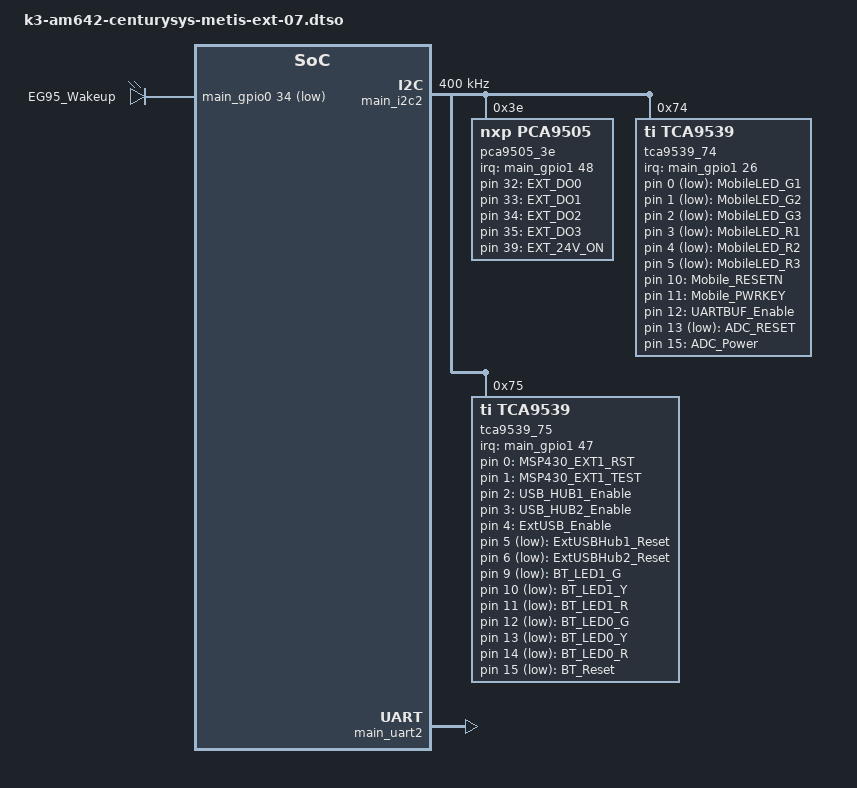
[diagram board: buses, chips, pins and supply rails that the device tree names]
// SPDX-License-Identifier: GPL-2.0
/**
 * DT overlay for EG95/BLE/Audio expansion board on Century Systems MA-X3xx
 *
 * Copyright (C) 2026 Century Systems
 */

/dts-v1/;
/plugin/;
#include <dt-bindings/gpio/gpio.h>
#include <dt-bindings/interrupt-controller/irq.h>
#include <dt-bindings/net/microchip-lan78xx.h>
#include "k3-pinctrl.h"

&main_pmx0 {
	main_uart2_rs232_pins_default: main-uart2-rs232-default-pins {
		pinctrl-single,pins = <
			AM64X_IOPAD(0x003c, PIN_INPUT, 2) 		/* (T20) UART2_RXD */
			AM64X_IOPAD(0x0040, PIN_OUTPUT, 2)		/* (U21) UART2_TXD */
			AM64X_IOPAD(0x0044, PIN_OUTPUT, 2)		/* (T18) UART2_RTS */
			AM64X_IOPAD(0x005c, PIN_INPUT, 2)		/* (V19) UART2_CTS */
			AM64X_IOPAD(0x0068, PIN_INPUT, 7)		/* (W20) GPIO0_26 (EG95 DCD) */
		>;
	};

	eg95_ctrl_status_pins_default: eg95-ctrl-status-default-pins {
		pinctrl-single,pins = <
			AM64X_IOPAD(0x008c, PIN_OUTPUT, 7)		/* (T21) GPIO0_34 (EG95 DTR) */
		>;
	};

	main_i2c2_tca9539_74_pins_default: main-i2c2-tca9539-74-pins-default {
		pinctrl-single,pins = <
			AM64X_IOPAD(0x01c8, PIN_INPUT, 7) /* (R5) PRG0_PRU1_GPO6.GPIO1_26 */
		>;
	};

	main_i2c2_tca9539_75_pins_default: main-i2c2-tca9539-75-pins-default {
		pinctrl-single,pins = <
			AM64X_IOPAD(0x021c, PIN_INPUT, 7) /* (B14) SPI1_CS0.GPIO1_47 */
		>;
	};

	main_i2c2_pca9505_3e_pins_default: main-i2c2-pca9505-3e-pins-default {
		pinctrl-single,pins = <
			AM64X_IOPAD(0x0220, PIN_INPUT, 7) /* (D14) SPI1_CS1.GPIO1_48 */
		>;
	};
};

&main_i2c2 {
	#address-cells = <1>;
	#size-cells = <0>;
	pinctrl-names = "default";
	pinctrl-0 = <&main_i2c2_pins_default>;
	clock-frequency = <400000>;
	status = "okay";

	pca9505_3e: pca9505@3e {
		compatible = "nxp,pca9505";
		reg = <0x3e>;
		#address-cells = <1>;
		#size-cells = <0>;
		#gpio-cells = <2>;
		pinctrl-names = "default";
		pinctrl-0 = <&main_i2c2_pca9505_3e_pins_default>;
		interrupt-parent = <&main_gpio1>;
		interrupts = <48 IRQ_TYPE_EDGE_FALLING>;
		interrupt-controller;
		#interrupt-cells = <2>;

		gpio-line-names = "EXT_DI0", "EXT_DI1", "EXT_DI2", "EXT_DI3",
				  "", "", "", "",
				  "", "", "", "",
				  "", "", "EXT_CounterINT1", "EXT_24V_Fail",
				  "Filtered_DI0", "Filtered_DI1", "Filtered_DI2", "Filtered_DI3",
				  "", "", "", "",
				  "", "", "", "",
				  "", "", "", "",
				  "EXT_DO0", "EXT_DO1", "EXT_DO2", "EXT_DO3",
				  "", "", "", "EXT_24V_ON";
	};

	tca9539_74: tca9539@74 {
		compatible = "ti,tca9539";
		reg = <0x74>;
		#address-cells = <1>;
		#size-cells = <0>;
		gpio-controller;
		#gpio-cells = <2>;
		pinctrl-names = "default";
		pinctrl-0 = <&main_i2c2_tca9539_74_pins_default>;
		interrupt-parent = <&main_gpio1>;
		interrupts = <26 IRQ_TYPE_EDGE_FALLING>;
		interrupt-controller;
		#interrupt-cells = <2>;

		gpio-line-names = "MobileLED:G0",
				  "MobileLED:G1",
				  "MobileLED:G2",
				  "MobileLED:R0",
				  "MobileLED:R1",
				  "MobileLED:R2",
				  "", "",
				  "SIM_CD",
				  "Mobile_Status_N",
				  "Mobile_Reset",
				  "Mobile_PWRKEY",
				  "UARTBUF_Enable",
				  "ADC_RESETn",
				  "ADC_PowerFault",
				  "ADC_PowerCtrl";
	};

	tca9539_75: tca9539@75 {
		compatible = "ti,tca9539";
		reg = <0x75>;
		#address-cells = <1>;
		#size-cells = <0>;
		gpio-controller;
		#gpio-cells = <2>;
		pinctrl-names = "default";
		pinctrl-0 = <&main_i2c2_tca9539_75_pins_default>;
		interrupt-parent = <&main_gpio1>;
		interrupts = <47 IRQ_TYPE_EDGE_FALLING>;
		interrupt-controller;
		#interrupt-cells = <2>;

		gpio-line-names = "MSP430_EXT1_RST",
				  "MSP430_EXT1_TEST",
				  "USBHUB1_Enable",
				  "USBHUB2_Enable",
				  "ExtUSB_Power_Enable",
				  "ExtUSB_Hub1_RESET",
				  "ExtUSB_Hub2_RESET",
				  "",
				  "PAIRING_SW_N",
				  "BT_LED1_G",
				  "BT_LED1_Y",
				  "BT_LED1_R",
				  "BT_LED0_G",
				  "BT_LED0_Y",
				  "BT_LED0_R",
				  "BT_RESET_n";
	};
};

&main_uart2 {
	pinctrl-names = "default";
	pinctrl-0 = <&main_uart2_rs232_pins_default>;
	dcd-gpios = <&main_gpio0 26 GPIO_ACTIVE_LOW>;
	status = "okay";
};

&{/} {
	leds_ext1: leds_ext1 {
		compatible = "gpio-leds";
		status = "okay";

		led_g1 {
			label = "MobileLED_G1";
			gpios = <&tca9539_74 0 GPIO_ACTIVE_LOW>;
		};

		led_g2 {
			label = "MobileLED_G2";
			gpios = <&tca9539_74 1 GPIO_ACTIVE_LOW>;
		};

		led_g3 {
			label = "MobileLED_G3";
			gpios = <&tca9539_74 2 GPIO_ACTIVE_LOW>;
		};

		led_r1 {
			label = "MobileLED_R1";
			gpios = <&tca9539_74 3 GPIO_ACTIVE_LOW>;
		};

		led_r2 {
			label = "MobileLED_R2";
			gpios = <&tca9539_74 4 GPIO_ACTIVE_LOW>;
		};

		led_r3 {
			label = "MobileLED_R3";
			gpios = <&tca9539_74 5 GPIO_ACTIVE_LOW>;
		};

		mobile_reset {
			label = "Mobile_RESETN";
			gpios = <&tca9539_74 10 GPIO_ACTIVE_HIGH>;
			linux,default-trigger = "oneshot";
			led-pattern = <500 100>;
		};

		mobile_pwrkey {
			label = "Mobile_PWRKEY";
			gpios = <&tca9539_74 11 GPIO_ACTIVE_HIGH>;
		};

		led_UARTBUF {
			label = "UARTBUF_Enable";
			gpios = <&tca9539_74 12 GPIO_ACTIVE_HIGH>;
		};

		adc_reset_n {
			label = "ADC_RESET";
			gpios = <&tca9539_74 13 GPIO_ACTIVE_LOW>;
			linux,default-trigger = "oneshot";
		};

		adc_power {
			label = "ADC_Power";
			gpios = <&tca9539_74 15 GPIO_ACTIVE_HIGH>;
		};
	};

	leds_ext2: leds_ext2 {
		compatible = "gpio-leds";
		status = "okay";

		msp430_ext1_rst {
			label = "MSP430_EXT1_RST";
			gpios = <&tca9539_75 0 GPIO_ACTIVE_HIGH>;
		};

		msp430_ext1_test {
			label = "MSP430_EXT1_TEST";
			gpios = <&tca9539_75 1 GPIO_ACTIVE_HIGH>;
		};

		usb_hub1_enable {
			label = "USB_HUB1_Enable";
			gpios = <&tca9539_75 2 GPIO_ACTIVE_HIGH>;
			default-state = "on";
		};

		usb_hub2_enable {
			label = "USB_HUB2_Enable";
			gpios = <&tca9539_75 3 GPIO_ACTIVE_HIGH>;
			default-state = "on";
		};

		extusb_enable {
			label = "ExtUSB_Enable";
			gpios = <&tca9539_75 4 GPIO_ACTIVE_HIGH>;
			default-state = "on";
		};

		usb_hub1_reset {
			label = "ExtUSBHub1_Reset";
			gpios = <&tca9539_75 5 GPIO_ACTIVE_LOW>;
			linux,default-trigger = "oneshot";
			led-pattern = <50 100>;
		};

		usb_hub2_reset {
			label = "ExtUSBHub2_Reset";
			gpios = <&tca9539_75 6 GPIO_ACTIVE_LOW>;
			linux,default-trigger = "oneshot";
			led-pattern = <50 100>;
		};

		bt_led1_g {
			label = "BT_LED1_G";
			gpios = <&tca9539_75 9 GPIO_ACTIVE_LOW>;
		};

		bt_led1_y {
			label = "BT_LED1_Y";
			gpios = <&tca9539_75 10 GPIO_ACTIVE_LOW>;
		};

		bt_led1_r {
			label = "BT_LED1_R";
			gpios = <&tca9539_75 11 GPIO_ACTIVE_LOW>;
		};

		bt_led0_g {
			label = "BT_LED0_G";
			gpios = <&tca9539_75 12 GPIO_ACTIVE_LOW>;
		};

		bt_led0_y {
			label = "BT_LED0_Y";
			gpios = <&tca9539_75 13 GPIO_ACTIVE_LOW>;
		};

		bt_led0_r {
			label = "BT_LED0_R";
			gpios = <&tca9539_75 14 GPIO_ACTIVE_LOW>;
		};

		bt_reset_n {
			label = "BT_Reset";
			gpios = <&tca9539_75 15 GPIO_ACTIVE_LOW>;
			default-state = "off";
			linux,default-trigger = "oneshot";
			led-pattern = <500 100>;
		};
	};

	leds_eg95: eg95-leds {
		compatible = "gpio-leds";
		pinctrl-names = "default";
		pinctrl-0 = <&eg95_ctrl_status_pins_default>;
		status = "okay";

		led_eg95_DTR {
			label = "EG95_Wakeup";
			gpios = <&main_gpio0 34 GPIO_ACTIVE_LOW>;
		};
	};

	leds_ext_3e: leds_ext_3e {
		compatible = "gpio-leds";
		status = "okay";

		ext_do0 {
			label = "EXT_DO0";
			gpios = <&pca9505_3e 32 GPIO_ACTIVE_HIGH>;
			retain-state-suspended;
			retain-state-shutdown;
			default-state = "keep";
		};

		ext_do1 {
			label = "EXT_DO1";
			gpios = <&pca9505_3e 33 GPIO_ACTIVE_HIGH>;
			retain-state-suspended;
			retain-state-shutdown;
			default-state = "keep";
		};

		ext_do2 {
			label = "EXT_DO2";
			gpios = <&pca9505_3e 34 GPIO_ACTIVE_HIGH>;
			retain-state-suspended;
			retain-state-shutdown;
			default-state = "keep";
		};

		ext_do3 {
			label = "EXT_DO3";
			gpios = <&pca9505_3e 35 GPIO_ACTIVE_HIGH>;
			retain-state-suspended;
			retain-state-shutdown;
			default-state = "keep";
		};

		ext_24v_on {
			label = "EXT_24V_ON";
			gpios = <&pca9505_3e 39 GPIO_ACTIVE_HIGH>;
			retain-state-suspended;
			retain-state-shutdown;
			default-state = "keep";
		};
	};
};
